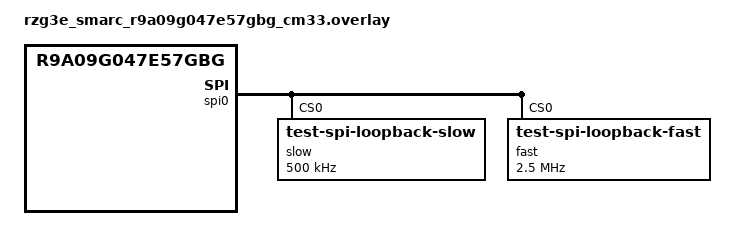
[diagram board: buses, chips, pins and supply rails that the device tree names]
/*
 * Copyright (c) 2026 Renesas Electronics Corporation
 *
 * SPDX-License-Identifier: Apache-2.0
 */

/*
 * Wiring: connect MOSIA (PMOD0 pin 2) to MISOA (PMOD0 pin 3).
 */

&spi0 {
	dmas = <&dma0 1 RZ_DMA_PERIPH_TO_MEM>,
	       <&dma0 0 RZ_DMA_MEM_TO_PERIPH>;
	dma-names = "rx", "tx";

	slow@0 {
		compatible = "test-spi-loopback-slow";
		reg = <0>;
		spi-max-frequency = <500000>;
	};

	fast@0 {
		compatible = "test-spi-loopback-fast";
		reg = <0>;
		spi-max-frequency = <2500000>;
	};
};

&dma0 {
	dma-buf-addr-alignment = <1>;
	status = "okay";
};
